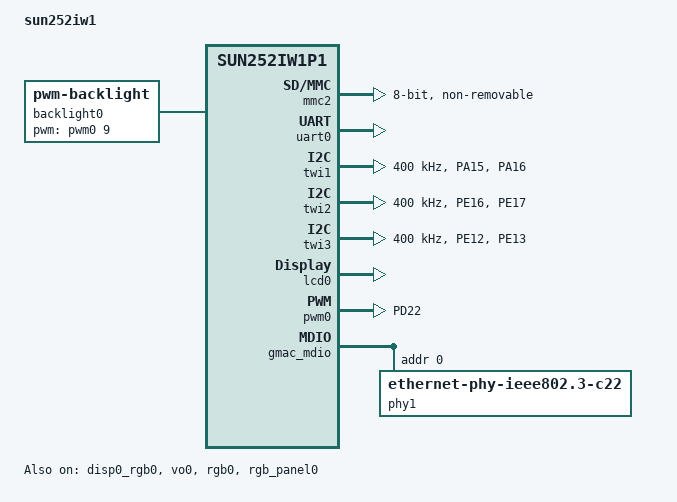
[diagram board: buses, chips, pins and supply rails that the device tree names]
// SPDX-License-Identifier: (GPL-2.0+ or MIT)
/*
 * Allwinner Technology CO., Ltd. sun8iw21p1 platform
 *
 * modify base on juno.dts
 */

/dts-v1/;

#include "sun252iw1p1.dtsi"

/ {
	model = "sun252iw1";
	compatible = "allwinner,v861", "riscv,sun252iw1p1";

	aliases {
		serial0 = &uart0;
	};

	chosen {
		stdout-path = "serial0:115200n8";
	};

	backlight0: backlight0 {
		compatible = "pwm-backlight";
		status = "okay";
		brightness-levels = <
			  0   1   2   3   4   5   6   7
			  8   9  10  11  12  13  14  15
			 16  17  18  19  20  21  22  23
			 24  25  26  27  28  29  30  31
			 32  33  34  35  36  37  38  39
			 40  41  42  43  44  45  46  47
			 48  49  50  51  52  53  54  55
			 56  57  58  59  60  61  62  63
			 64  65  66  67  68  69  70  71
			 72  73  74  75  76  77  78  79
			 80  81  82  83  84  85  86  87
			 88  89  90  91  92  93  94  95
			 96  97  98  99 100 101 102 103
			104 105 106 107 108 109 110 111
			112 113 114 115 116 117 118 119
			120 121 122 123 124 125 126 127
			128 129 130 131 132 133 134 135
			136 137 138 139 140 141 142 143
			144 145 146 147 148 149 150 151
			152 153 154 155 156 157 158 159
			160 161 162 163 164 165 166 167
			168 169 170 171 172 173 174 175
			176 177 178 179 180 181 182 183
			184 185 186 187 188 189 190 191
			192 193 194 195 196 197 198 199
			200 201 202 203 204 205 206 207
			208 209 210 211 212 213 214 215
			216 217 218 219 220 221 222 223
			224 225 226 227 228 229 230 231
			232 233 234 235 236 237 238 239
			240 241 242 243 244 245 246 247
			248 249 250 251 252 253 254 255>;
		default-brightness-level = <255>;
		pwms = <&pwm0 9 25000 0>;
	};

	rgb_panel0: rgb_panel@0 {
		compatible = "sunxi-rgb";
		status = "okay";
		reg = <0 0 0 0>;
		backlight = <&backlight0>;
		display-timings {
			native-mode = <&rgb_timing0>;
			rgb_timing0: timing0 {
				clock-frequency = <33000000>;
				hactive = <800>;
				hfront-porch = <25>;
				hsync-len = <10>;
				hback-porch = <46>;
				vactive = <480>;
				vfront-porch = <22>;
				vsync-len = <10>;
				vback-porch = <20>;
			};
		};
		port {
			rgb0_panel_in: endpoint {
				remote-endpoint = <&rgb0_panel_out>;
			};
		};
	};
};

&mmc0 {
	cd-gpios = <&pio 5 6 GPIO_ACTIVE_LOW>;	/* PF6 */
	bus-width = <4>;
	status = "disabled";
};

&mmc2 {
	bus-width = <8>;
	cap-mmc-highspeed;
	max-frequency = <50000000>;
	sdc_ex_dly_used = <2>;
	sdc_tm4_hs200_max_freq = <150>;
	sdc_tm4_hs400_max_freq = <150>;
	sdc_tm4_win_th = <0x7>;
	sdc_io_1v8 = <0>;
    status = "okay";
	non-removable;
	no-1-8-v;
};

&uart0 {
	pinctrl-names = "default";
	pinctrl-0 = <&uart0_ph_pins>;
	status = "okay";
};

&target {
	auto_fel = <0>;		/*1:support auto fel; 0:not support auto fel*/
	burn_key = <1>;		/*1:support burn key; 0:not support burn key*/
	storage_type = <1>;
};

&pio {
	spi0_pins_default: spi0@0 {
		pins = "PC0", "PC2", "PC3"; /* clk, mosi, miso */
		function = "spi0";
		drive-strength = <20>;
	};

	spi0_pins_cs: spi0@1 {
		pins = "PC1", "PC4", "PC5", "PC6";
		function = "spi0";
		drive-strength = <20>;
		bias-pull-up;   /* cs0, wp, hold, cs1 should be pulled up */
	};

	spif_pins_default: spif@0 {
		pins = "PC0", "PC2", "PC3"; /* clk, mosi, miso */
		function = "spif";
		drive-strength = <20>;
	};

	spif_pins_cs: spif@1 {
		pins = "PC1", "PC4", "PC5", "PC6";
		function = "spif";
		drive-strength = <20>;
		bias-pull-up;   /* cs0, wp, hold, cs1 should be pulled up */
	};

	rgb24_PD_pins_default: rgb24_PD@0 {
		pins =  "PD0",  "PD1",  "PD2",  "PD3",  "PD4",  "PD5",  \
				"PD6",  "PD7",  "PD8",  "PD9",  "PD10", "PD11", \
				"PD12", "PD13", "PD14", "PD15", "PD16", "PD17", \
				"PD19", "PD20", "PD21";
		function = "rgb24_PD";
		drive-strength = <20>;
	};

	rgb24_PD18_pin_default: rgb24_PD18@0 {
		pins =  "PD18";
		function = "rgb24_PD";
		drive-strength = <30>;
	};

	rgb24_PE_pins_default: rgb24_PE@0 {
		pins =  "PE0", "PE1", "PE2", "PE3", "PE4", "PE5";
		function = "rgb24_PE";
		drive-strength = <20>;
	};

	pwm0_9_pins_default: pwm0_9@0 {
		pins = "PD22";
		function = "pwm0_9";
		drive-strength = <20>;
	};

	r_twi0_pins_default: r_twi0@0 {
		pins = "PL5", "PL6";
		function = "r_twi0";
		drive-strength = <10>;
	};

	r_twi0_pins_sleep: r_twi0@1 {
		pins = "PL5", "PL6";
		function = "gpio_in";
	};

	twi1_pins_default: twi1@0 {
		pins = "PA15", "PA16";
		function = "twi1";
		drive-strength = <10>;
	};

	twi2_pins_default: twi2@0 {
		pins = "PE16", "PE17";
		function = "twi2";
		drive-strength = <10>;
	};

	twi3_pins_default: twi3@0 {
		pins = "PE12", "PE13";
		function = "twi3";
		drive-strength = <10>;
	};

	gmac_pins_default: gmac0@0 {
		pins = "PE0", "PE1", "PE2", "PE3",
		  "PE4", "PE5", "PE6", "PE7",
		  "PE8", "PE9", "PE10";
		function = "rmii0";
		drive-strength = <40>;
	};
};

&spi0 {
	pinctrl-0 = <&spi0_pins_default>, <&spi0_pins_cs>;
	pinctrl-names = "default";
	sunxi,spi-bus-mode = <SUNXI_SPI_BUS_FLASH>;
	sunxi,spi-cs-mode = <SUNXI_SPI_CS_SOFT>;
	status = "disabled";

	spi-nor@0 {
		#address-cells = <1>;
		#size-cells = <1>;
		compatible = "jedec,spi-nor";
		reg = <0x0>;
		spi-max-frequency = <100000000>;
		spi-rx-bus-width = <0x04>;
		spi-tx-bus-width = <0x04>;
		status = "disabled";
	};

	spi-nand@0 {
		#address-cells = <1>;
		#size-cells = <1>;
		compatible = "spi-nand";
		reg = <0x0>;
		spi-max-frequency = <100000000>;
		spi-rx-bus-width = <0x04>;
		spi-tx-bus-width = <0x04>;
		status = "disabled";
	};
};

&spif {
	clock-frequency = <100000000>;
	pinctrl-0 = <&spif_pins_default>, <&spif_pins_cs>;
	pinctrl-names = "default";
	status = "disabled";

	spif-nor {
		#address-cells = <1>;
		#size-cells = <1>;
		compatible = "jedec,spi-nor";
		reg = <0x0>;
		spif-max-frequency = <100000000>;
		spif-rx-bus-width = <0x04>;
		spif-tx-bus-width = <0x04>;
		dtr_mode_enabled = <1>;	/* choose double edge trigger mode */
		io_mode_enabled = <1>;	/* 1_x_x && x_x_x mode */
		status = "disabled";
	};
};

&power_sply {
};

&twi0 {
	clock-frequency = <400000>;
	pinctrl-names = "default","sleep";
	pinctrl-0 = <&r_twi0_pins_default>;
	pinctrl-1 = <&r_twi0_pins_sleep>;
	status = "disabled";

};

&twi1 {
	clock-frequency = <400000>;
	pinctrl-names = "default";
	pinctrl-0 = <&twi1_pins_default>;
	status = "okay";
};

&twi2 {
	clock-frequency = <400000>;
	pinctrl-names = "default";
	pinctrl-0 = <&twi2_pins_default>;
	status = "okay";
};

&twi3 {
	clock-frequency = <400000>;
	pinctrl-names = "default";
	pinctrl-0 = <&twi3_pins_default>;
	status = "okay";
};

&sunxi_flashmap {
/*
*  |-44k-|   -4k-   |   -uboot size-    |-16k-|
*
*  |boot0|boot_param|uboot(boot_package)| mbr |  ===> mtdblock0(need 64k aligned)
*
*        |          |->uboot_start      |     |-> kernel start
*        |->boot_param_start            |->logic_offset
*/
	nor_map {
		/*Unit: Sector, 8M flash:16384, 16M flash:32768, 32M flash:65536*/
		/* logic offset requires block size(64K) alignment - 32(mbr size) */
		flash_size = <32768>;
		logic_offset = <2784>;
		secure_logic_offset = <2784>;
		rtos_logic_offset = <2016>;
		rtos_secure_logic_offset = <2016>;
		boot_param_start = <120>;
		boot_param_size = <8>;
		uboot_start = <128>;
		uboot_size = <1920>;
		boot0_start = <0>;
		status = "okay";
	};
};

&platform {
	debug_mode = <8>;
};

&disp0_rgb0{
	enable = <1>;
	status = "okay";
};

&vo0{
	status = "okay";
};

&lcd0{
	status = "okay";
};

&rgb0{
	status = "okay";
	pinctrl-names = "default";
	pinctrl-0 = <&rgb24_PD_pins_default> , <&rgb24_PD18_pin_default> , <&rgb24_PE_pins_default> ;
	ports {
		port@1 {
			#address-cells = <1>;
			#size-cells = <0>;
			reg = <1>;
			rgb0_panel_out: endpoint@0 {
				reg = <0>;
				remote-endpoint = <&rgb0_panel_in>;
			};
		};
	};
};

&pwm0 {
	pinctrl-names = "default";
	pinctrl-0 = <&pwm0_9_pins_default>;
	status = "okay";
};

&gmac_mdio {
	phy1: ethernet-phy@1 {
	      compatible = "ethernet-phy-ieee802.3-c22";
	      reg = <0x0>;
	};
};

&gmac0 {
	phy-mode = "rmii";
	pinctrl-names = "default";
	pinctrl-0 = <&gmac_pins_default>;
	phy-handle = <&phy1>;
	allwinner,tx-delay-ps = <0>;
	allwinner,rx-delay-ps = <0>;
	snps,reset-active-low;
	snps,reset-gpio = <&pio 7 3 GPIO_ACTIVE_LOW>; // PH3
	snps,reset-delays-us = <0 10000 150000>;
	status = "disabled";
};

/* VE enc freq 576M uses pll-video-4x as parent; set to 1152M (576*2)
 * so VE can do integer division. Otherwise VE changing parent
 * clock frequency may disturb TCON frame rate. */
&ccu {
	assigned-clocks = <&ccu CLK_PLL_VIDEO_4X>;
	assigned-clock-rates = <1152000000>;
};
